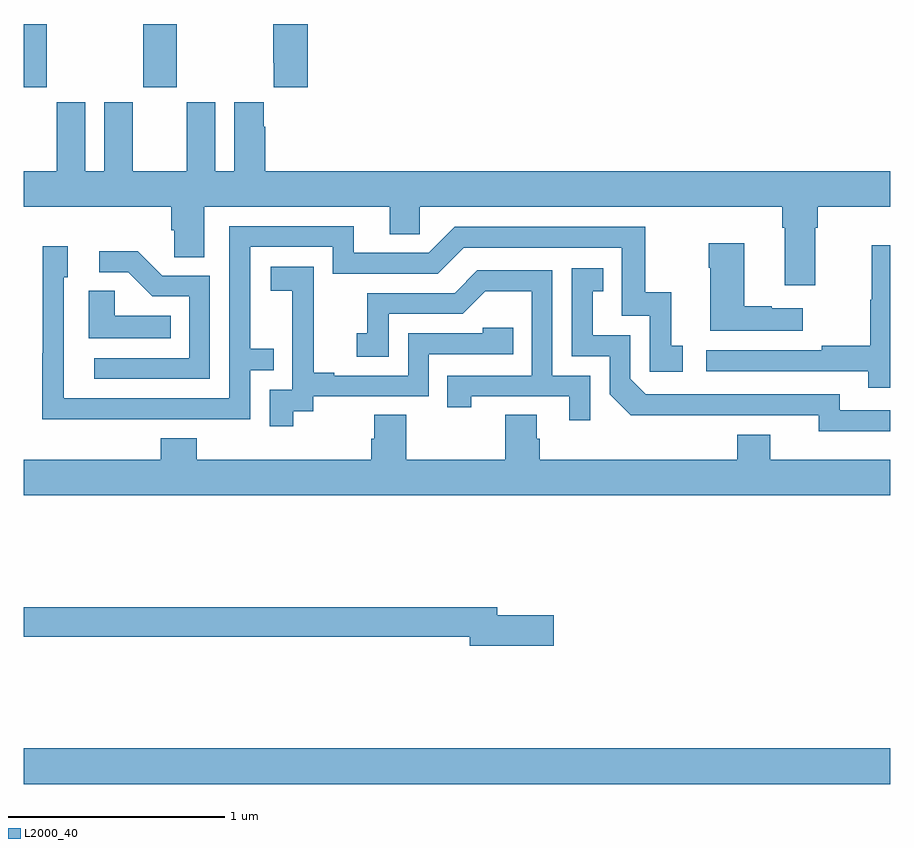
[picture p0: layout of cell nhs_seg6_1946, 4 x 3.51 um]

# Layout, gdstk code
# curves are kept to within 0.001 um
import gdstk
lib = gdstk.Library(unit=1e-6, precision=1e-09)
def R(c, l, rs):  # rectangles x0, y0, x1, y1
    for r in rs: c.add(gdstk.rectangle(r[:2], r[2:], *l))
def P(c, l, *ps):  # polygons
    for p in ps: c.add(gdstk.Polygon(p, *l))
L2000_40 = (2000, 40)

nhs_seg6_1946 = lib.new_cell('nhs_seg6_1946')
R(nhs_seg6_1946, L2000_40, [(227,957.992,231,958.156), (227,961.209,227.106,961.5), (227.551,961.209,227.706,961.5)])
P(nhs_seg6_1946, L2000_40, [(228.151,961.321),(228.155,961.321),(228.155,961.209),(228.311,961.209),(228.311,961.5),(228.151,961.5)],
  [(227.681,960.547),(227.694,960.547),(227.694,960.424),(227.833,960.424),(227.833,960.656),(228.689,960.656),(228.689,960.529),(228.828,960.529),(228.828,960.656),(230.501,960.656),(230.501,960.56),(230.513,960.56),(230.513,960.294),(230.653,960.294),(230.653,960.56),(230.666,960.56),(230.666,960.656),(231,960.656),(231,960.82),(228.116,960.82),(228.116,961.025),(228.109,961.025),(228.109,961.138),(227.972,961.138),(227.972,960.82),(227.884,960.82),(227.884,961.138),(227.753,961.138),(227.753,960.82),(227.503,960.82),(227.503,961.138),(227.372,961.138),(227.372,960.82),(227.284,960.82),(227.284,961.138),(227.153,961.138),(227.153,960.82),(227,960.82),(227,960.656),(227.681,960.656)],
  [(227.549,959.676),(228.045,959.676),(228.045,959.901),(228.155,959.901),(228.155,960.002),(228.045,960.002),(228.045,960.471),(228.426,960.471),(228.426,960.348),(228.912,960.348),(229.032,960.468),(229.761,960.468),(229.761,960.153),(229.89,960.153),(229.89,959.895),(230.041,959.895),(230.041,960.015),(229.988,960.015),(229.988,960.262),(229.87,960.262),(229.87,960.564),(228.99,960.564),(228.87,960.444),(228.523,960.444),(228.523,960.567),(227.949,960.567),(227.949,959.772),(227.184,959.772),(227.184,960.33),(227.203,960.33),(227.203,960.475),(227.088,960.475),(227.088,959.981),(227.086,959.981),(227.086,959.675)],
  [(230.596,960.187),(230.453,960.187),(230.453,960.197),(230.326,960.197),(230.326,960.487),(230.161,960.487),(230.161,960.374),(230.168,960.374),(230.168,960.083),(230.596,960.083)],
  [(231,960.478),(230.914,960.478),(230.914,960.228),(230.907,960.228),(230.907,960.014),(230.683,960.014),(230.683,959.994),(230.151,959.994),(230.151,959.898),(230.899,959.898),(230.899,959.82),(231,959.82)],
  [(227.859,960.339),(227.64,960.339),(227.527,960.452),(227.349,960.452),(227.349,960.354),(227.483,960.354),(227.594,960.243),(227.763,960.243),(227.763,959.958),(227.325,959.958),(227.325,959.862),(227.859,959.862)],
  [(228.244,959.713),(228.336,959.713),(228.336,959.781),(228.87,959.781),(228.87,959.976),(229.259,959.976),(229.259,960.099),(229.119,960.099),(229.119,960.072),(228.774,960.072),(228.774,959.877),(228.433,959.877),(228.433,959.89),(228.338,959.89),(228.338,960.173),(228.339,960.173),(228.339,960.379),(228.141,960.379),(228.141,960.269),(228.239,960.269),(228.239,960.041),(228.24,960.041),(228.24,959.811),(228.135,959.811),(228.135,959.643),(228.244,959.643)],
  [(231,959.718),(230.766,959.718),(230.766,959.79),(229.872,959.79),(229.8,959.862),(229.8,960.063),(229.627,960.063),(229.627,960.267),(229.676,960.267),(229.676,960.373),(229.53,960.373),(229.53,959.967),(229.704,959.967),(229.704,959.79),(229.802,959.693),(230.67,959.694),(230.67,959.621),(231,959.621)],
  [(229.614,959.877),(229.44,959.877),(229.44,960.363),(229.094,960.363),(228.989,960.258),(228.586,960.258),(228.586,960.073),(228.537,960.073),(228.537,959.964),(228.684,959.964),(228.684,960.162),(229.026,960.162),(229.13,960.266),(229.344,960.266),(229.344,959.877),(228.955,959.877),(228.955,959.73),(229.066,959.73),(229.066,959.781),(229.517,959.781),(229.517,959.67),(229.614,959.67)],
  [(227.678,960.154),(227.421,960.154),(227.421,960.269),(227.3,960.269),(227.3,960.05),(227.678,960.05)],
  [(231,959.488),(230.446,959.488),(230.446,959.605),(230.294,959.605),(230.294,959.488),(229.382,959.488),(229.382,959.586),(229.369,959.586),(229.369,959.696),(229.222,959.696),(229.222,959.488),(228.765,959.488),(228.765,959.696),(228.617,959.696),(228.617,959.586),(228.605,959.586),(228.605,959.488),(227.798,959.488),(227.798,959.587),(227.633,959.587),(227.633,959.488),(227,959.488),(227,959.324),(231,959.324)],
  [(229.447,958.772),(229.186,958.772),(229.186,958.808),(227,958.808),(227,958.672),(229.058,958.672),(229.058,958.63),(229.447,958.63)])

lib.write_gds('nhs_seg6_1946.gds')
